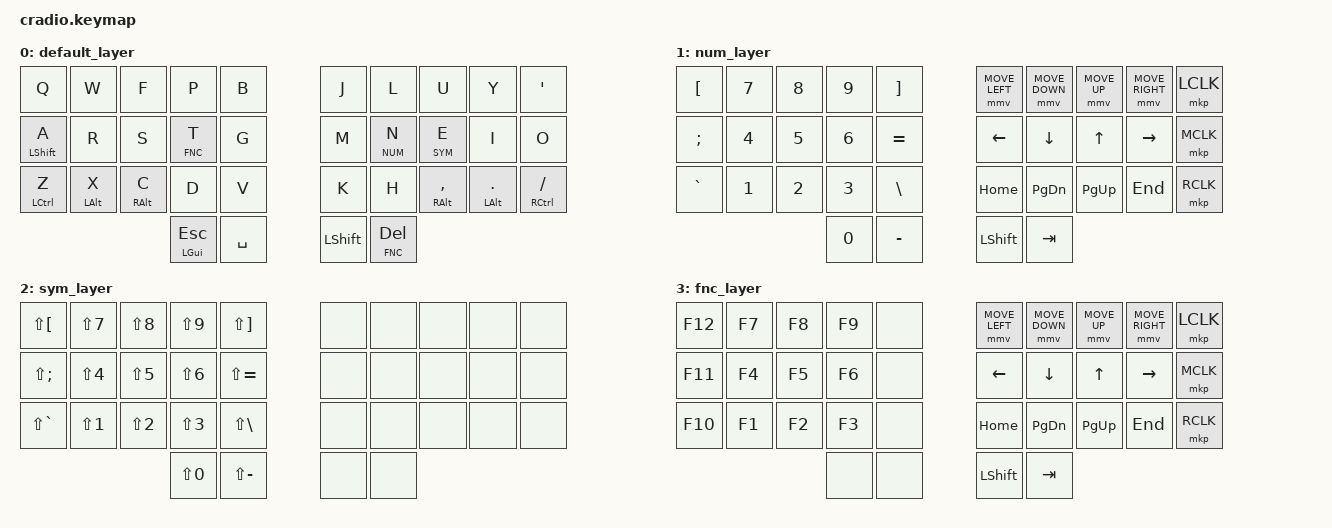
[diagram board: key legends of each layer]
/*
 * Copyright (c) 2020 The ZMK Contributors
 *
 * SPDX-License-Identifier: MIT
 */

#include <behaviors.dtsi>
#include <dt-bindings/zmk/keys.h>
#include <dt-bindings/zmk/bt.h>
#include <dt-bindings/zmk/mouse.h>
  
#define MOVE_UP1 MOVE_VERT(-1800)
#define MOVE_DOWN1 MOVE_VERT(1800)
#define MOVE_LEFT1 MOVE_HOR(-1800)
#define MOVE_RIGHT1 MOVE_HOR(1800)
// Layer definitions
    #define BASE 0
    #define NUM 1
    #define SYM 2
    #define FNC 3
// -----------------

/ {

    behaviors {
        hm: homerow_mods {
            compatible = "zmk,behavior-hold-tap";
            label = "homerow mods";
            #binding-cells = <2>;
            tapping_term_ms = <150>;
            flavor = "tap-preferred";
            bindings = <&kp>, <&kp>;
        };
    };

    combos {
        compatible = "zmk,combos";
        combo_enter {
            timeout-ms = <40>;
            key-positions = <13 16>; // tn
            bindings = <&kp ENTER>;
        };
        combo_ctrl_backspace {
            timeout-ms = <50>;
            key-positions = <11 18>; // ri
            bindings = <&kp LC(BSPC)>;
        };
        combo_backspace {
            timeout-ms = <50>;
            key-positions = <22 27>; // c,
            bindings = <&kp BSPC>;
        };
        combo_tab {
            timeout-ms = <80>;
            key-positions = <31 32>; // double radial thumb keys
            bindings = <&kp TAB>;
        };
    };

    keymap {
            compatible = "zmk,keymap";

        // Base alpha layer
               default_layer {
        bindings = <
        &kp Q        &kp W      &kp F      &kp P          &kp B           &kp J      &kp L       &kp U          &kp Y        &kp SQT
        &hm LSHIFT A &kp R      &kp S      &lt FNC T      &kp G           &kp M      &lt NUM N   &lt SYM E      &kp I        &kp O
        &hm LCTRL Z  &hm LALT X &hm RALT C &kp D          &kp V           &kp K      &kp H       &hm RALT COMMA &hm LALT DOT &hm RCTRL SLASH
                                        &hm LGUI ESC   &kp SPACE       &kp LSHIFT &lt FNC DEL
        >;
        };

        // Numbers and high frequency symbols
               num_layer {
        bindings = <
        &kp LEFT_BRACKET &kp N7 &kp N8 &kp N9 &kp RBKT        &mmv MOVE_LEFT &mmv MOVE_DOWN &mmv MOVE_UP &mmv MOVE_RIGHT &mkp LCLK
        &kp SEMICOLON    &kp N4 &kp N5 &kp N6 &kp EQUAL       &kp LEFT_ARROW &kp DOWN_ARROW &kp UP_ARROW &kp RIGHT_ARROW &mkp MCLK
        &kp GRAVE        &kp N1 &kp N2 &kp N3 &kp BSLH        &kp HOME       &kp PAGE_DOWN  &kp PAGE_UP  &kp END         &mkp RCLK
                                       &kp N0 &kp MINUS       &kp LSHIFT     &kp TAB
        >;
        };

        // Numbers + Shift (= Symbols)
        sym_layer {
        bindings = <
        &kp LS(LEFT_BRACKET) &kp LS(N7) &kp LS(N8) &kp LS(N9) &kp LS(RBKT)        &none &none &none &none &none
        &kp LS(SEMICOLON)    &kp LS(N4) &kp LS(N5) &kp LS(N6) &kp LS(EQUAL)       &none &none &none &none &none
        &kp LS(GRAVE)        &kp LS(N1) &kp LS(N2) &kp LS(N3) &kp LS(BSLH)        &none &none &none &none &none
                                                   &kp LS(N0) &kp LS(MINUS)       &none &none
        >;
        };

        // Function keys (right half is the same as number)
               fnc_layer {
        bindings = <
        &kp F12 &kp F7 &kp F8 &kp F9 &none       &mmv MOVE_LEFT &mmv MOVE_DOWN &mmv MOVE_UP &mmv MOVE_RIGHT &mkp LCLK
        &kp F11 &kp F4 &kp F5 &kp F6 &none       &kp LEFT_ARROW &kp DOWN_ARROW &kp UP_ARROW &kp RIGHT_ARROW &mkp MCLK
        &kp F10 &kp F1 &kp F2 &kp F3 &none       &kp HOME       &kp PAGE_DOWN  &kp PAGE_UP  &kp END         &mkp RCLK
                              &none  &none       &kp LSHIFT     &kp TAB
        >;
        };
    };
};
